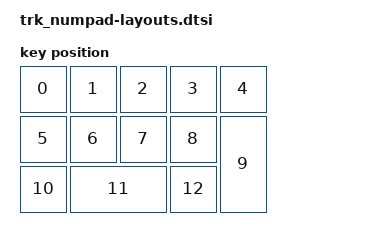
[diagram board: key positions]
#include <physical_layouts.dtsi>

/ {
    physical_layout_trk_numpad: physical_layout_trk_numpad {
        compatible = "zmk,physical-layout";
        display-name = "trk-numpad";
        keys  //                     w   h    x    y     rot    rx    ry
            = <&key_physical_attrs 100 100    0    0       0     0     0>
            , <&key_physical_attrs 100 100  100    0       0   100     0>
            , <&key_physical_attrs 100 100  200    0       0   200     0>
            , <&key_physical_attrs 100 100  300    0       0   300     0>
            , <&key_physical_attrs 100 100  400    0       0   400     0>
            , <&key_physical_attrs 100 100    0  100       0     0   100>
            , <&key_physical_attrs 100 100  100  100       0   100   100>
            , <&key_physical_attrs 100 100  200  100       0   200   100>
            , <&key_physical_attrs 100 100  300  100       0   300   100>
            , <&key_physical_attrs 100 200  400  100       0   400   100>
            , <&key_physical_attrs 100 100    0  200       0     0   200>
            , <&key_physical_attrs 200 100  100  200       0   100   200>
            , <&key_physical_attrs 100 100  300  200       0   300   200>
            ;
    };
};
